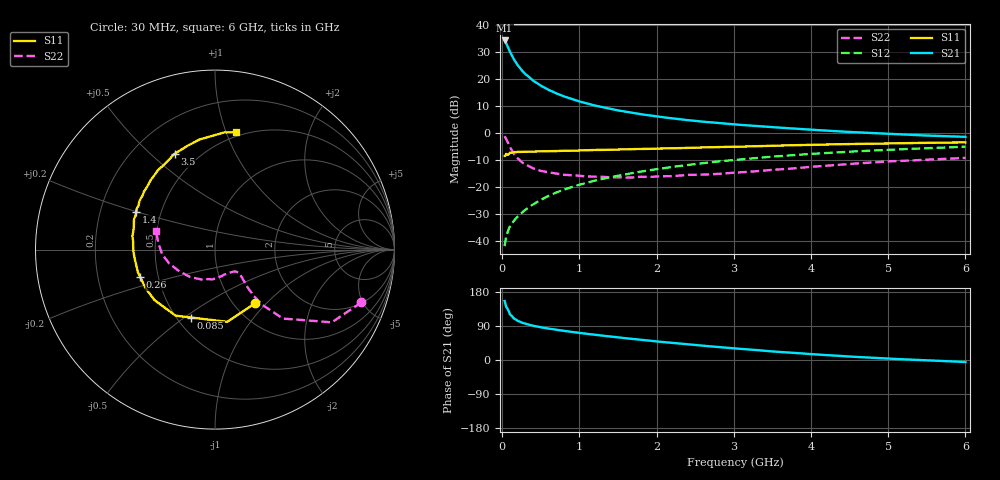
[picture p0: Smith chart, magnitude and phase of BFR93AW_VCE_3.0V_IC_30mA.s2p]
! Infineon Technologies  Discrete & RF Semiconductors
! BFR93AW
! VCE =  3.0 V,  IC =  30 mA
! Common Emitter S-Parameters:  Nov 2015
# GHz  S  MA  R  50
!  f  S11  S21  S12  S22
! GHz  MAG  ANG  MAG  ANG  MAG  ANG  MAG  ANG
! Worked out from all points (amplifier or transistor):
!   206 points, 30 MHz to 6 GHz, reference 50 ohm
!   highest |S21| = 34.1 dB at 30 MHz (marker M1)
!   |S21| within 3 dB of that: start of sweep to 81.04 MHz
!   unconditionally stable (mu >= 1): 432.8 MHz to 2.234 GHz
!   at 200 MHz: K = 0.82, MSG = 28.0 dB, |S12| = -31.0 dB
!   at 1.56 GHz: K = 1.04, MAG = 10.5 dB, |S12| = -15.5 dB
!   at 6 GHz: K = 0.92, MSG = 1.8 dB, |S12| = -5.2 dB
!   S11 on the Smith chart (normalised r, x): 30 MHz: 1.25, -0.86; 85 MHz: 0.59, -0.53; 260 MHz: 0.40, -0.15; 1.4 GHz: 0.36, +0.20; 3.5 GHz: 0.37, +0.60; 6 GHz: 0.46, +1.08
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0.03  0.3733 -52.9  50.97 155.7  0.008 71.5  0.8673 -19.8
0.05  0.4081 -80.4  45.48 140.6  0.0121 67.9  0.7666 -31.9
0.085  0.4012 -109.4  35.01 128.0  0.0167 62.2  0.6038 -40.3
0.1  0.4286 -120.8  31.28 120.2  0.0187 60.6  0.5397 -45.4
0.15  0.4391 -140.2  22.71 109.7  0.0235 62.5  0.4088 -49.3
0.2  0.4425 -150.8  17.71 103.2  0.0282 64.4  0.3357 -50.1
0.24  0.4427 -157.4  15.04 99.8  0.032 65.6  0.2969 -49.6
0.26  0.4442 -159.9  13.93 98.2  0.0339 66.1  0.2816 -49.2
0.3  0.4479 -163.6  12.12 95.4  0.0378 66.9  0.2591 -48.5
0.4  0.4493 -172.0  9.188 90.3  0.0474 70.5  0.22 -46.1
0.5  0.4543 -177.6  7.421 86.2  0.0576 71.7  0.1973 -45.1
0.6  0.4562 178.3  6.212 82.8  0.068 71.9  0.1851 -44.6
0.7  0.4586 174.1  5.359 79.7  0.0786 72.4  0.1767 -45.2
0.9  0.4662 167.8  4.2 74.1  0.0994 72.1  0.1644 -48.0
1.04  0.4719 163.4  3.662 70.6  0.1136 71.6  0.1583 -51.3
1.4  0.4868 154.5  2.768 61.9  0.151 69.4  0.1502 -62.5
2.02  0.5111 140.7  1.988 48.6  0.2147 64.3  0.1564 -83.3
3.1  0.5549 119.8  1.396 29.3  0.323 53.8  0.1859 -118.3
3.5  0.5791 112.9  1.27 22.6  0.3624 49.7  0.2066 -132.2
4.1  0.6018 103.4  1.118 14.2  0.4146 42.9  0.2399 -152.7
5.1  0.6377 90.2  0.943 2.7  0.4915 32.0  0.2989 -177.4
6  0.6636 79.9  0.841 -5.3  0.5527 22.8  0.3433 162.8
